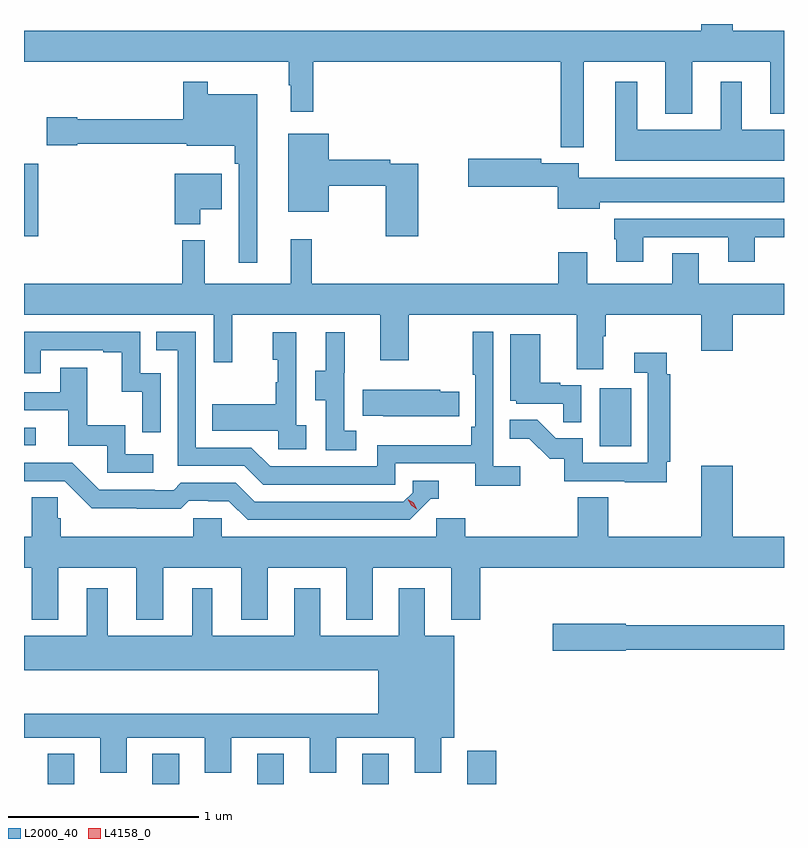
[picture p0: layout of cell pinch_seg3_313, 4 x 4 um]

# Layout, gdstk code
import gdstk
lib = gdstk.Library(unit=1e-6, precision=1e-09)
def R(c, l, rs):  # rectangles x0, y0, x1, y1
    for r in rs: c.add(gdstk.rectangle(r[:2], r[2:], *l))
def A(c, l, x, y, w, h, nx, ny, dx, dy):  # array of equal rectangles
    R(c, l, [(x+i*dx, y+j*dy, x+i*dx+w, y+j*dy+h) for i in range(nx) for j in range(ny)])
def P(c, l, *ps):  # polygons
    for p in ps: c.add(gdstk.Polygon(p, *l))
L2000_40 = (2000, 40)
L4158_0 = (4158, 0)

pinch_seg3_313 = lib.new_cell('pinch_seg3_313')
A(pinch_seg3_313, L2000_40, 1000.727, 715.763, 0.14, 0.158, 4, 1, 0.552, 0)
R(pinch_seg3_313, L2000_40, [(1002.935,715.763,1003.088,715.939), (1003.634,717.54,1003.798,717.847), (1000.603,717.546,1000.666,717.639), (1000.603,718.647,1000.679,719.028)])
P(pinch_seg3_313, L2000_40, [(1003.549,719.564),(1003.979,719.564),(1003.979,719.291),(1004.119,719.291),(1004.119,719.564),(1004.531,719.564),(1004.531,719.291),(1004.603,719.291),(1004.603,719.728),(1004.332,719.728),(1004.332,719.763),(1004.168,719.763),(1004.168,719.728),(1000.603,719.728),(1000.603,719.564),(1001.997,719.564),(1001.997,719.441),(1002.008,719.441),(1002.008,719.301),(1002.125,719.301),(1002.125,719.564),(1003.428,719.564),(1003.428,719.115),(1003.549,719.115)],
  [(1001.83,719.392),(1001.569,719.392),(1001.569,719.458),(1001.44,719.458),(1001.44,719.263),(1000.884,719.263),(1000.884,719.271),(1000.722,719.271),(1000.722,719.126),(1000.884,719.126),(1000.884,719.134),(1001.459,719.134),(1001.459,719.123),(1001.713,719.123),(1001.713,719.027),(1001.733,719.027),(1001.733,718.506),(1001.83,718.506)],
  [(1004.603,719.206),(1004.38,719.206),(1004.38,719.458),(1004.27,719.458),(1004.27,719.206),(1003.831,719.206),(1003.831,719.458),(1003.715,719.458),(1003.715,719.042),(1004.603,719.042)],
  [(1002.677,719.028),(1002.53,719.028),(1002.53,719.048),(1002.208,719.048),(1002.208,719.185),(1001.993,719.185),(1001.993,718.775),(1002.208,718.775),(1002.208,718.912),(1002.506,718.912),(1002.506,718.647),(1002.677,718.647)],
  [(1003.633,718.826),(1004.603,718.826),(1004.603,718.954),(1003.522,718.954),(1003.522,719.029),(1003.326,719.029),(1003.326,719.054),(1002.942,719.054),(1002.942,718.907),(1003.412,718.907),(1003.412,718.79),(1003.633,718.79)],
  [(1001.53,718.787),(1001.644,718.787),(1001.644,718.975),(1001.396,718.975),(1001.396,718.709),(1001.53,718.709)],
  [(1003.861,718.641),(1004.309,718.641),(1004.309,718.512),(1004.449,718.512),(1004.449,718.641),(1004.603,718.641),(1004.603,718.737),(1003.709,718.737),(1003.709,718.629),(1003.721,718.629),(1003.721,718.512),(1003.861,718.512)],
  [(1003.651,718.12),(1003.664,718.12),(1003.664,718.232),(1004.168,718.232),(1004.168,718.044),(1004.332,718.044),(1004.332,718.232),(1004.603,718.232),(1004.603,718.396),(1004.155,718.396),(1004.155,718.556),(1004.015,718.556),(1004.015,718.396),(1003.567,718.396),(1003.567,718.561),(1003.415,718.561),(1003.415,718.396),(1002.118,718.396),(1002.118,718.63),(1002.008,718.63),(1002.008,718.396),(1001.555,718.396),(1001.555,718.624),(1001.437,718.624),(1001.437,718.396),(1000.603,718.396),(1000.603,718.232),(1001.601,718.232),(1001.601,717.984),(1001.699,717.984),(1001.699,718.232),(1002.479,718.232),(1002.479,717.993),(1002.627,717.993),(1002.627,718.232),(1003.511,718.232),(1003.511,717.946),(1003.651,717.946)],
  [(1003.216,717.436),(1003.074,717.436),(1003.074,718.144),(1002.966,718.144),(1002.966,717.916),(1002.978,717.916),(1002.978,717.643),(1002.958,717.643),(1002.958,717.547),(1002.462,717.547),(1002.462,717.435),(1001.898,717.435),(1001.799,717.534),(1001.508,717.534),(1001.508,718.143),(1001.299,718.143),(1001.299,718.047),(1001.412,718.047),(1001.412,717.438),(1001.762,717.438),(1001.861,717.339),(1002.558,717.339),(1002.558,717.45),(1002.977,717.45),(1002.977,717.334),(1003.216,717.334)],
  [(1001.322,717.924),(1001.214,717.924),(1001.214,718.143),(1000.603,718.143),(1000.603,717.924),(1000.692,717.924),(1000.692,718.047),(1001.021,718.047),(1001.021,718.035),(1001.117,718.035),(1001.117,717.827),(1001.226,717.827),(1001.226,717.615),(1001.322,717.615)],
  [(1002.088,717.65),(1002.036,717.65),(1002.036,718.141),(1001.912,718.141),(1001.912,717.996),(1001.938,717.996),(1001.938,717.878),(1001.928,717.878),(1001.928,717.763),(1001.593,717.763),(1001.593,717.623),(1001.94,717.623),(1001.94,717.525),(1002.088,717.525)],
  [(1002.352,717.623),(1002.288,717.623),(1002.288,717.927),(1002.29,717.927),(1002.29,718.141),(1002.191,718.141),(1002.191,717.939),(1002.137,717.939),(1002.137,717.784),(1002.192,717.784),(1002.192,717.52),(1002.352,717.52)],
  [(1003.536,717.861),(1003.425,717.861),(1003.425,717.874),(1003.321,717.874),(1003.321,718.129),(1003.163,718.129),(1003.163,717.78),(1003.194,717.78),(1003.194,717.765),(1003.441,717.765),(1003.441,717.667),(1003.536,717.667)],
  [(1003.985,717.46),(1004.003,717.46),(1004.003,717.92),(1003.985,717.92),(1003.985,718.033),(1003.815,718.033),(1003.815,717.927),(1003.887,717.927),(1003.887,717.453),(1003.545,717.453),(1003.545,717.582),(1003.401,717.582),(1003.303,717.68),(1003.159,717.68),(1003.159,717.581),(1003.263,717.581),(1003.37,717.474),(1003.447,717.474),(1003.447,717.357),(1003.765,717.357),(1003.765,717.352),(1003.985,717.352)],
  [(1001.284,717.498),(1001.136,717.498),(1001.136,717.652),(1000.937,717.652),(1000.937,717.955),(1000.793,717.955),(1000.793,717.825),(1000.603,717.825),(1000.603,717.729),(1000.835,717.729),(1000.835,717.543),(1001.04,717.543),(1001.04,717.402),(1001.284,717.402)],
  [(1002.893,717.828),(1002.795,717.828),(1002.795,717.838),(1002.385,717.838),(1002.385,717.701),(1002.493,717.701),(1002.493,717.698),(1002.893,717.698)],
  [(1002.744,717.264),(1002.787,717.264),(1002.787,717.36),(1002.648,717.36),(1002.648,717.297),(1002.6,717.249),(1001.817,717.249),(1001.718,717.348),(1001.429,717.348),(1001.39,717.309),(1001.291,717.309),(1001.291,717.312),(1000.998,717.312),(1000.857,717.453),(1000.603,717.453),(1000.603,717.357),(1000.818,717.357),(1000.96,717.215),(1001.196,717.215),(1001.196,717.213),(1001.429,717.213),(1001.471,717.255),(1001.574,717.255),(1001.574,717.252),(1001.681,717.252),(1001.78,717.153),(1002.633,717.153)],
  [(1000.783,716.9),(1001.195,716.9),(1001.195,716.627),(1001.335,716.627),(1001.335,716.9),(1001.747,716.9),(1001.747,716.627),(1001.887,716.627),(1001.887,716.9),(1002.299,716.9),(1002.299,716.627),(1002.439,716.627),(1002.439,716.9),(1002.851,716.9),(1002.851,716.627),(1003.004,716.627),(1003.004,716.9),(1004.603,716.9),(1004.603,717.064),(1004.332,717.064),(1004.332,717.439),(1004.168,717.439),(1004.168,717.064),(1003.677,717.064),(1003.677,717.272),(1003.517,717.272),(1003.517,717.064),(1002.926,717.064),(1002.926,717.162),(1002.774,717.162),(1002.774,717.064),(1001.643,717.064),(1001.643,717.162),(1001.493,717.162),(1001.493,717.064),(1000.796,717.064),(1000.796,717.162),(1000.781,717.162),(1000.781,717.272),(1000.644,717.272),(1000.644,717.064),(1000.603,717.064),(1000.603,716.9),(1000.643,716.9),(1000.643,716.627),(1000.783,716.627)],
  [(1001.143,716.006),(1001.555,716.006),(1001.555,715.821),(1001.695,715.821),(1001.695,716.006),(1002.107,716.006),(1002.107,715.821),(1002.247,715.821),(1002.247,716.006),(1002.659,716.006),(1002.659,715.821),(1002.799,715.821),(1002.799,716.006),(1002.868,716.006),(1002.868,716.542),(1002.712,716.542),(1002.712,716.794),(1002.575,716.794),(1002.575,716.542),(1002.163,716.542),(1002.163,716.794),(1002.026,716.794),(1002.026,716.542),(1001.593,716.542),(1001.593,716.794),(1001.489,716.794),(1001.489,716.542),(1001.044,716.542),(1001.044,716.794),(1000.934,716.794),(1000.934,716.542),(1000.603,716.542),(1000.603,716.363),(1002.467,716.363),(1002.467,716.134),(1000.603,716.134),(1000.603,716.006),(1001.003,716.006),(1001.003,715.821),(1001.143,715.821)],
  [(1003.77,716.47),(1004.603,716.47),(1004.603,716.599),(1003.77,716.599),(1003.77,716.607),(1003.386,716.607),(1003.386,716.465),(1003.77,716.465)])
P(pinch_seg3_313, L4158_0, [(1002.67,717.21),(1002.64,717.23),(1002.623,717.263),(1002.623,717.263),(1002.624,717.263),(1002.654,717.243),(1002.671,717.21),(1002.671,717.21)])

lib.write_gds('pinch_seg3_313.gds')
